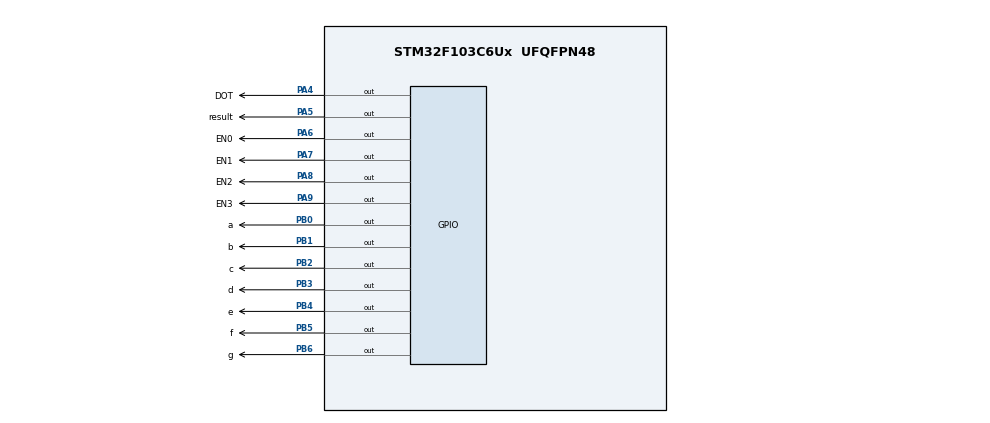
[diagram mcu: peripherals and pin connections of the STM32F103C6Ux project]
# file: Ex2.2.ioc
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Mcu.Family=STM32F1
Mcu.Name=STM32F103C6Ux
Mcu.Package=UFQFPN48
NVIC.PriorityGroup=NVIC_PRIORITYGROUP_4
NVIC.TIM2_IRQn=true\:0\:0\:false\:false\:true\:true\:true
PA4.GPIO_Label=DOT
PA4.Signal=GPIO_Output
PA5.GPIO_Label=result
PA5.Signal=GPIO_Output
PA6.GPIO_Label=EN0
PA6.Signal=GPIO_Output
PA7.GPIO_Label=EN1
PA7.Signal=GPIO_Output
PA8.GPIO_Label=EN2
PA8.Signal=GPIO_Output
PA9.GPIO_Label=EN3
PA9.Signal=GPIO_Output
PB0.GPIO_Label=a
PB0.Signal=GPIO_Output
PB1.GPIO_Label=b
PB1.Signal=GPIO_Output
PB2.GPIO_Label=c
PB2.Signal=GPIO_Output
PB3.GPIO_Label=d
PB3.Signal=GPIO_Output
PB4.GPIO_Label=e
PB4.Signal=GPIO_Output
PB5.GPIO_Label=f
PB5.Signal=GPIO_Output
PB6.GPIO_Label=g
PB6.Signal=GPIO_Output
ProjectManager.HeapSize=0x200
ProjectManager.StackSize=0x400
ProjectManager.TargetToolchain=STM32CubeIDE
RCC.APB1Freq_Value=8000000
RCC.APB2Freq_Value=8000000
TIM2.Period=9
TIM2.Prescaler=7999
VP_SYS_VS_ND.Mode=No_Debug
VP_TIM2_VS_ClockSourceINT.Mode=Internal
board=custom

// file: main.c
/* USER CODE BEGIN Header */
/**
 ******************************************************************************
 * @file           : main.c
 * @brief          : Main program body
 ******************************************************************************
 * @attention
 *
 * <h2><center>&copy; Copyright (c) 2022 STMicroelectronics.
 * All rights reserved.</center></h2>
 *
 * This software component is licensed by ST under BSD 3-Clause license,
 * the "License"; You may not use this file except in compliance with the
 * License. You may obtain a copy of the License at:
 *                        opensource.org/licenses/BSD-3-Clause
 *
 ******************************************************************************
 */
/* USER CODE END Header */
#include "main.h"
#include "timer.h"

TIM_HandleTypeDef htim2;

void SystemClock_Config(void);
static void MX_GPIO_Init(void);
static void MX_TIM2_Init(void);

/* USER CODE BEGIN 0 */
void control7SEG(int index) {
	switch(index)
	{
	case 0: /* so 0 */
	{
		HAL_GPIO_WritePin(a_GPIO_Port, a_Pin, RESET);
		HAL_GPIO_WritePin(b_GPIO_Port, b_Pin, RESET);
		HAL_GPIO_WritePin(c_GPIO_Port, c_Pin, RESET);
		HAL_GPIO_WritePin(d_GPIO_Port, d_Pin, RESET);
		HAL_GPIO_WritePin(e_GPIO_Port, e_Pin, RESET);
		HAL_GPIO_WritePin(f_GPIO_Port, f_Pin, RESET);
		HAL_GPIO_WritePin(g_GPIO_Port, g_Pin, SET);
		break;

	}
	case 1:
	{
		HAL_GPIO_WritePin(a_GPIO_Port, a_Pin, SET);
		HAL_GPIO_WritePin(b_GPIO_Port, b_Pin, RESET);
		HAL_GPIO_WritePin(c_GPIO_Port, c_Pin, RESET);
		HAL_GPIO_WritePin(d_GPIO_Port, d_Pin, SET);
		HAL_GPIO_WritePin(e_GPIO_Port, e_Pin, SET);
		HAL_GPIO_WritePin(f_GPIO_Port, f_Pin, SET);
		HAL_GPIO_WritePin(g_GPIO_Port, g_Pin, SET);
		break;

	}
	case 2:
	{
		HAL_GPIO_WritePin(a_GPIO_Port, a_Pin, RESET);
		HAL_GPIO_WritePin(b_GPIO_Port, b_Pin, RESET);
		HAL_GPIO_WritePin(c_GPIO_Port, c_Pin, SET);
		HAL_GPIO_WritePin(d_GPIO_Port, d_Pin, RESET);
		HAL_GPIO_WritePin(e_GPIO_Port, e_Pin, RESET);
		HAL_GPIO_WritePin(f_GPIO_Port, f_Pin, SET);
		HAL_GPIO_WritePin(g_GPIO_Port, g_Pin, RESET);
		break;

	}
	case 3:
	{
		HAL_GPIO_WritePin(a_GPIO_Port, a_Pin, RESET);
		HAL_GPIO_WritePin(b_GPIO_Port, b_Pin, RESET);
		HAL_GPIO_WritePin(c_GPIO_Port, c_Pin, RESET);
		HAL_GPIO_WritePin(d_GPIO_Port, d_Pin, RESET);
		HAL_GPIO_WritePin(e_GPIO_Port, e_Pin, SET);
		HAL_GPIO_WritePin(f_GPIO_Port, f_Pin, SET);
		HAL_GPIO_WritePin(g_GPIO_Port, g_Pin, RESET);
		break;

	}
	case 4:
	{
		HAL_GPIO_WritePin(a_GPIO_Port, a_Pin, SET);
		HAL_GPIO_WritePin(b_GPIO_Port, b_Pin, RESET);
		HAL_GPIO_WritePin(c_GPIO_Port, c_Pin, RESET);
		HAL_GPIO_WritePin(d_GPIO_Port, d_Pin, SET);
		HAL_GPIO_WritePin(e_GPIO_Port, e_Pin, SET);
		HAL_GPIO_WritePin(f_GPIO_Port, f_Pin, RESET);
		HAL_GPIO_WritePin(g_GPIO_Port, g_Pin, RESET);
		break;

	}
	case 5:
		{
		HAL_GPIO_WritePin(a_GPIO_Port, a_Pin, RESET);
		HAL_GPIO_WritePin(b_GPIO_Port, b_Pin, SET);
		HAL_GPIO_WritePin(c_GPIO_Port, c_Pin, RESET);
		HAL_GPIO_WritePin(d_GPIO_Port, d_Pin, RESET);
		HAL_GPIO_WritePin(e_GPIO_Port, e_Pin, SET);
		HAL_GPIO_WritePin(f_GPIO_Port, f_Pin, RESET);
		HAL_GPIO_WritePin(g_GPIO_Port, g_Pin, RESET);
		break;

	}
		case 6:
	{
		HAL_GPIO_WritePin(a_GPIO_Port, a_Pin, RESET);
		HAL_GPIO_WritePin(b_GPIO_Port, b_Pin, SET);
		HAL_GPIO_WritePin(c_GPIO_Port, c_Pin, RESET);
		HAL_GPIO_WritePin(d_GPIO_Port, d_Pin, RESET);
		HAL_GPIO_WritePin(e_GPIO_Port, e_Pin, RESET);
		HAL_GPIO_WritePin(f_GPIO_Port, f_Pin, RESET);
		HAL_GPIO_WritePin(g_GPIO_Port, g_Pin, RESET);
		break;

	}  case7:
	{
		HAL_GPIO_WritePin(a_GPIO_Port, a_Pin, RESET);
		HAL_GPIO_WritePin(b_GPIO_Port, b_Pin, RESET);
		HAL_GPIO_WritePin(c_GPIO_Port, c_Pin, RESET);
		HAL_GPIO_WritePin(d_GPIO_Port, d_Pin, SET);
		HAL_GPIO_WritePin(e_GPIO_Port, e_Pin, SET);
		HAL_GPIO_WritePin(f_GPIO_Port, f_Pin, SET);
		HAL_GPIO_WritePin(g_GPIO_Port, g_Pin, SET);
		break;

	} case 8: {
		HAL_GPIO_WritePin(a_GPIO_Port, a_Pin, RESET);
		HAL_GPIO_WritePin(b_GPIO_Port, b_Pin, RESET);
		HAL_GPIO_WritePin(c_GPIO_Port, c_Pin, RESET);
		HAL_GPIO_WritePin(d_GPIO_Port, d_Pin, RESET);
		HAL_GPIO_WritePin(e_GPIO_Port, e_Pin, RESET);
		HAL_GPIO_WritePin(f_GPIO_Port, f_Pin, RESET);
		HAL_GPIO_WritePin(g_GPIO_Port, g_Pin, RESET);
		break;

	}  case 9: {
		HAL_GPIO_WritePin(a_GPIO_Port, a_Pin, RESET);
		HAL_GPIO_WritePin(b_GPIO_Port, b_Pin, RESET);
		HAL_GPIO_WritePin(c_GPIO_Port, c_Pin, RESET);
		HAL_GPIO_WritePin(d_GPIO_Port, d_Pin, RESET);
		HAL_GPIO_WritePin(e_GPIO_Port, e_Pin, SET);
		HAL_GPIO_WritePin(f_GPIO_Port, f_Pin, RESET);
		HAL_GPIO_WritePin(g_GPIO_Port, g_Pin, RESET);
		break;

	}
	default:
		break;
	}
}
/* USER CODE END 0 */

int main(void) {

	/* MCU Configuration--------------------------------------------------------*/

	/* Reset of all peripherals, Initializes the Flash interface and the Systick. */
	HAL_Init();

	/* Configure the system clock */
	SystemClock_Config();

	/* Initialize all configured peripherals */
	MX_GPIO_Init();
	MX_TIM2_Init();
	/* USER CODE BEGIN 2 */
	 HAL_TIM_Base_Start_IT(&htim2);
	/* USER CODE END 2 */

	/* Infinite loop */
	/* USER CODE BEGIN WHILE */
		setTimer1(50);
	while (1) {
		/* USER CODE END WHILE */
		/* USER CODE BEGIN 3 */
		timerRun();

	}
	/* USER CODE END 3 */
}

void SystemClock_Config(void) {
	RCC_OscInitTypeDef RCC_OscInitStruct = { 0 };
	RCC_ClkInitTypeDef RCC_ClkInitStruct = { 0 };

	/** Initializes the RCC Oscillators according to the specified parameters
	 * in the RCC_OscInitTypeDef structure.
	 */
	RCC_OscInitStruct.OscillatorType = RCC_OSCILLATORTYPE_HSI;
	RCC_OscInitStruct.HSIState = RCC_HSI_ON;
	RCC_OscInitStruct.HSICalibrationValue = RCC_HSICALIBRATION_DEFAULT;
	RCC_OscInitStruct.PLL.PLLState = RCC_PLL_NONE;
	if (HAL_RCC_OscConfig(&RCC_OscInitStruct) != HAL_OK) {
		Error_Handler();
	}
	/** Initializes the CPU, AHB and APB buses clocks
	 */
	RCC_ClkInitStruct.ClockType = RCC_CLOCKTYPE_HCLK | RCC_CLOCKTYPE_SYSCLK
			| RCC_CLOCKTYPE_PCLK1 | RCC_CLOCKTYPE_PCLK2;
	RCC_ClkInitStruct.SYSCLKSource = RCC_SYSCLKSOURCE_HSI;
	RCC_ClkInitStruct.AHBCLKDivider = RCC_SYSCLK_DIV1;
	RCC_ClkInitStruct.APB1CLKDivider = RCC_HCLK_DIV1;
	RCC_ClkInitStruct.APB2CLKDivider = RCC_HCLK_DIV1;

	if (HAL_RCC_ClockConfig(&RCC_ClkInitStruct, FLASH_LATENCY_0) != HAL_OK) {
		Error_Handler();
	}
}

static void MX_TIM2_Init(void) {

	TIM_ClockConfigTypeDef sClockSourceConfig = { 0 };
	TIM_MasterConfigTypeDef sMasterConfig = { 0 };

	htim2.Instance = TIM2;
	htim2.Init.Prescaler = 7999;
	htim2.Init.CounterMode = TIM_COUNTERMODE_UP;
	htim2.Init.Period = 9;
	htim2.Init.ClockDivision = TIM_CLOCKDIVISION_DIV1;
	htim2.Init.AutoReloadPreload = TIM_AUTORELOAD_PRELOAD_DISABLE;
	if (HAL_TIM_Base_Init(&htim2) != HAL_OK) {
		Error_Handler();
	}
	sClockSourceConfig.ClockSource = TIM_CLOCKSOURCE_INTERNAL;
	if (HAL_TIM_ConfigClockSource(&htim2, &sClockSourceConfig) != HAL_OK) {
		Error_Handler();
	}
	sMasterConfig.MasterOutputTrigger = TIM_TRGO_RESET;
	sMasterConfig.MasterSlaveMode = TIM_MASTERSLAVEMODE_DISABLE;
	if (HAL_TIMEx_MasterConfigSynchronization(&htim2, &sMasterConfig)
			!= HAL_OK) {
		Error_Handler();
	}

}

static void MX_GPIO_Init(void) {
	GPIO_InitTypeDef GPIO_InitStruct = { 0 };

	/* GPIO Ports Clock Enable */
	__HAL_RCC_GPIOA_CLK_ENABLE();
	__HAL_RCC_GPIOB_CLK_ENABLE();

	/*Configure GPIO pin Output Level */
	HAL_GPIO_WritePin(GPIOA,
	DOT_Pin | result_Pin | EN0_Pin | EN1_Pin | EN2_Pin | EN3_Pin,
			GPIO_PIN_RESET);

	/*Configure GPIO pin Output Level */
	HAL_GPIO_WritePin(GPIOB,
	a_Pin | b_Pin | c_Pin | d_Pin | e_Pin | f_Pin | g_Pin, GPIO_PIN_RESET);

	/*Configure GPIO pins : DOT_Pin result_Pin EN0_Pin EN1_Pin
	 EN2_Pin EN3_Pin */
	GPIO_InitStruct.Pin = DOT_Pin | result_Pin | EN0_Pin | EN1_Pin | EN2_Pin
			| EN3_Pin;
	GPIO_InitStruct.Mode = GPIO_MODE_OUTPUT_PP;
	GPIO_InitStruct.Pull = GPIO_NOPULL;
	GPIO_InitStruct.Speed = GPIO_SPEED_FREQ_LOW;
	HAL_GPIO_Init(GPIOA, &GPIO_InitStruct);

	/*Configure GPIO pins : a_Pin b_Pin c_Pin d_Pin
	 e_Pin f_Pin g_Pin */
	GPIO_InitStruct.Pin = a_Pin | b_Pin | c_Pin | d_Pin | e_Pin | f_Pin | g_Pin;
	GPIO_InitStruct.Mode = GPIO_MODE_OUTPUT_PP;
	GPIO_InitStruct.Pull = GPIO_NOPULL;
	GPIO_InitStruct.Speed = GPIO_SPEED_FREQ_LOW;
	HAL_GPIO_Init(GPIOB, &GPIO_InitStruct);

}

/* USER CODE BEGIN 4 */
void HAL_TIM_PeriodElapsedCallback(TIM_HandleTypeDef *htim) {
	if(timer1_flag==1)
			{ setTimer1(50);
			}
			else
			{
			switch (0) {

				case 0: {

					HAL_GPIO_WritePin(EN0_GPIO_Port, EN0_Pin, RESET);
					HAL_GPIO_WritePin(EN1_GPIO_Port, EN1_Pin, SET);
					HAL_GPIO_WritePin(EN2_GPIO_Port, EN2_Pin, SET);
					HAL_GPIO_WritePin(EN3_GPIO_Port, EN3_Pin, SET);
					control7SEG(1);
					 setTimer1(50);

				}
				case 1: {
					HAL_GPIO_WritePin(EN0_GPIO_Port, EN0_Pin, SET);
					HAL_GPIO_WritePin(EN1_GPIO_Port, EN1_Pin, RESET);
					HAL_GPIO_WritePin(EN2_GPIO_Port, EN2_Pin, SET);
					HAL_GPIO_WritePin(EN3_GPIO_Port, EN3_Pin, SET);
					control7SEG(2);
					 setTimer1(50);

				}
				case 2: {
					HAL_GPIO_WritePin(EN0_GPIO_Port, EN0_Pin, SET);
					HAL_GPIO_WritePin(EN1_GPIO_Port, EN1_Pin, SET);
					HAL_GPIO_WritePin(EN2_GPIO_Port, EN2_Pin, RESET);
					HAL_GPIO_WritePin(EN3_GPIO_Port, EN3_Pin, SET);
					control7SEG(3);
					 setTimer1(50);

				}
				case 3: {
					HAL_GPIO_WritePin(EN0_GPIO_Port, EN0_Pin, SET);
					HAL_GPIO_WritePin(EN1_GPIO_Port, EN1_Pin, SET);
					HAL_GPIO_WritePin(EN2_GPIO_Port, EN2_Pin, SET);
					HAL_GPIO_WritePin(EN3_GPIO_Port, EN3_Pin, RESET);
					control7SEG(0);
					 setTimer1(50);
				}
				default:

					break;
				}
			}

}
/* USER CODE END 4 */

void Error_Handler(void) {
	__disable_irq();
	while (1) {
	}
}

/************************ (C) COPYRIGHT STMicroelectronics *****END OF FILE****/
